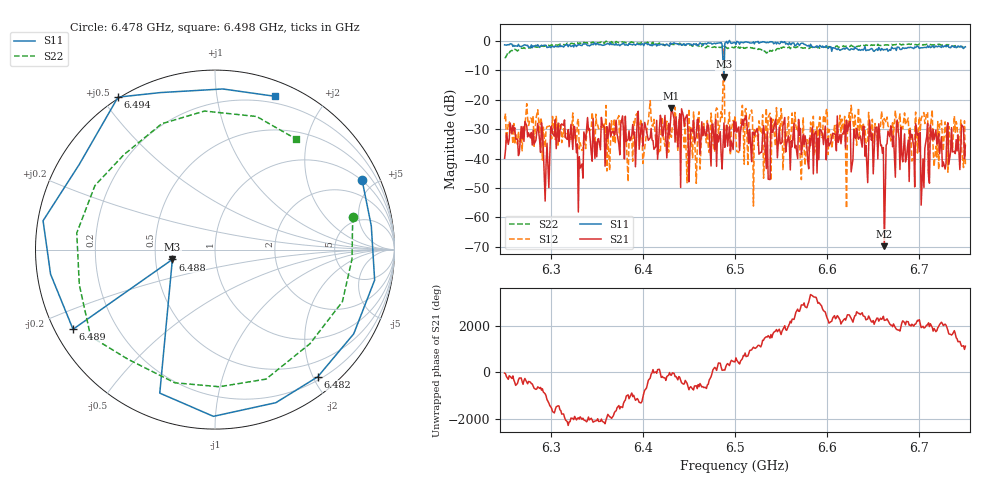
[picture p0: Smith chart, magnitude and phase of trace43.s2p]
# Hz S RI R 50
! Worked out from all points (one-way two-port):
!   401 points, 6.25 GHz to 6.75 GHz, reference 50 ohm
!   highest |S21| = -22.86 dB at 6.431 GHz (marker M1); lowest = -69.7 dB at 6.662 GHz (marker M2)
!   lowest |S11| = -12.3 dB at 6.488 GHz (marker M3), VSWR 1.64, Z = 30.7 - j3.56 ohm
!   |S11| at or under -10 dB: 6.487585 GHz to 6.488198 GHz (613.3 kHz wide, 0.00945 % of centre)
!   |S22| runs from -5.9 to -0.1 dB; largest |S21 - S12| = 0.71
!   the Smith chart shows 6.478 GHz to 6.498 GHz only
!   S11 on the Smith chart (normalised r, x): 6.478 GHz: 0.96, +4.22; 6.482 GHz: 0.25, -2.07; 6.488 GHz: 0.61, -0.07; 6.489 GHz: 0.05, -0.26; 6.494 GHz: -0.00, +0.55; 6.498 GHz: 0.13, +1.46
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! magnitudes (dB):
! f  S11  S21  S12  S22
! 6.25 GHz  -1.4  -39.9  -26.6  -5.9
! 6.289 GHz  -1.8  -37.9  -26.1  -1.7
! 6.296 GHz  -2.3  -34.8  -29.2  -1.7
! 6.312 GHz  -1.8  -28.3  -34.6  -1.3
! 6.334 GHz  -1.7  -41.9  -37.3  -0.6
! 6.34 GHz  -1.7  -26.1  -29.9  -0.9
! 6.418 GHz  -1.5  -29.7  -37.0  -0.8
! 6.431 GHz  -1.1  -22.9  -32.8  -1.1
! 6.478 GHz  -0.8  -36.9  -37.7  -2.1
! 6.482 GHz  -0.8  -34.4  -31.5  -2.2
! 6.488 GHz  -12.3  -27.9  -2.8  -1.5
! 6.489 GHz  -0.8  -36.2  -30.4  -2.1
! 6.494 GHz  0.1  -29.1  -24.3  -2.4
! 6.498 GHz  -0.7  -37.0  -27.1  -2.3
! 6.5 GHz  -0.6  -30.8  -25.4  -2.1
! 6.584 GHz  -2.2  -29.3  -30.8  -2.2
! 6.655 GHz  -3.3  -40.2  -36.1  -1.2
! 6.662 GHz  -3.0  -69.7  -26.4  -1.5
! 6.668 GHz  -3.0  -32.6  -30.0  -1.4
! 6.699 GHz  -2.1  -31.5  -29.7  -1.4
! 6.702 GHz  -2.4  -55.8  -26.5  -1.2
! 6.75 GHz  -2.1  -35.5  -41.9  -2.1
